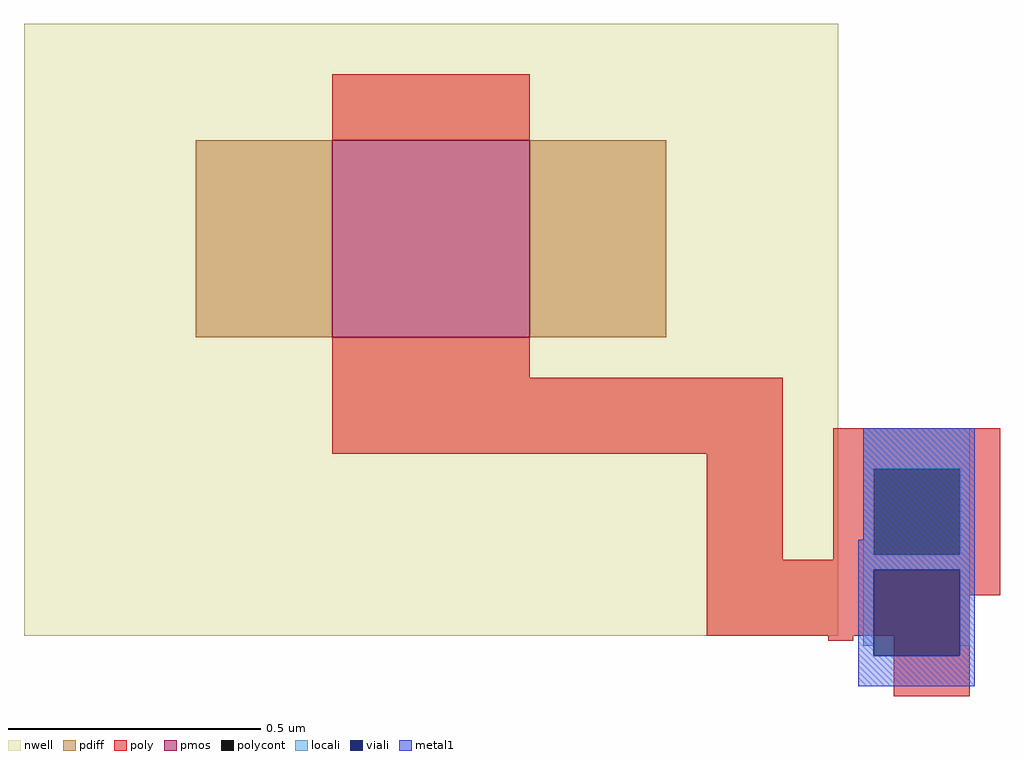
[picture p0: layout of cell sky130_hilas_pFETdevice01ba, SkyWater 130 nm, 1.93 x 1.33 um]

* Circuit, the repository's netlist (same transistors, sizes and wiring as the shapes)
* NGSPICE file created from /home/bjmuld/work/hilas/fastlane/PDKs/sky130A_hilas/libs.ref/sky130_hilas_sc/mag/sky130_hilas_pFETdevice01ba.ext - technology: sky130A


* Top level circuit /home/bjmuld/work/hilas/fastlane/PDKs/sky130A_hilas/libs.ref/sky130_hilas_sc/mag/sky130_hilas_pFETdevice01ba

X0 a_42_n38# a_n36_n84# a_n90_n38# w_n158_n156# sky130_fd_pr__pfet_01v8 w=390000u l=390000u
.end

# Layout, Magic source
magic
tech sky130A
<< nwell >>
rect 0 12 161 133
<< pmos >>
rect 61 71 100 110
<< pdiff >>
rect 34 71 61 110
rect 100 71 127 110
<< poly >>
rect 61 110 100 123
rect 61 63 100 71
rect 61 48 150 63
rect 135 27 150 48
rect 135 12 187 27
rect 159 11 164 12
rect 172 0 187 12
use sky130_hilas_poly2m1  sky130_hilas_poly2m1_0
transform 1 0 160 0 1 2
box 0 0 33 51
<< properties >>
string LEFsite unithd
string LEFclass CORE
string LEFsymmetry X Y R90
<< end >>

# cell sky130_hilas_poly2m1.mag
magic
tech sky130A
<< poly >>
rect 0 43 33 51
rect 0 26 8 43
rect 25 26 33 43
rect 0 18 33 26
<< polycont >>
rect 8 26 25 43
<< locali >>
rect 6 43 27 51
rect 6 26 8 43
rect 25 26 27 43
rect 6 23 27 26
rect 6 8 8 23
rect 25 8 27 23
<< viali >>
rect 8 6 25 23
<< metal1 >>
rect 6 29 28 51
rect 5 23 28 29
rect 5 6 8 23
rect 25 6 28 23
rect 5 0 28 6
<< properties >>
string LEFsite unithd
string LEFclass CORE
string LEFsymmetry X Y R90
<< end >>
